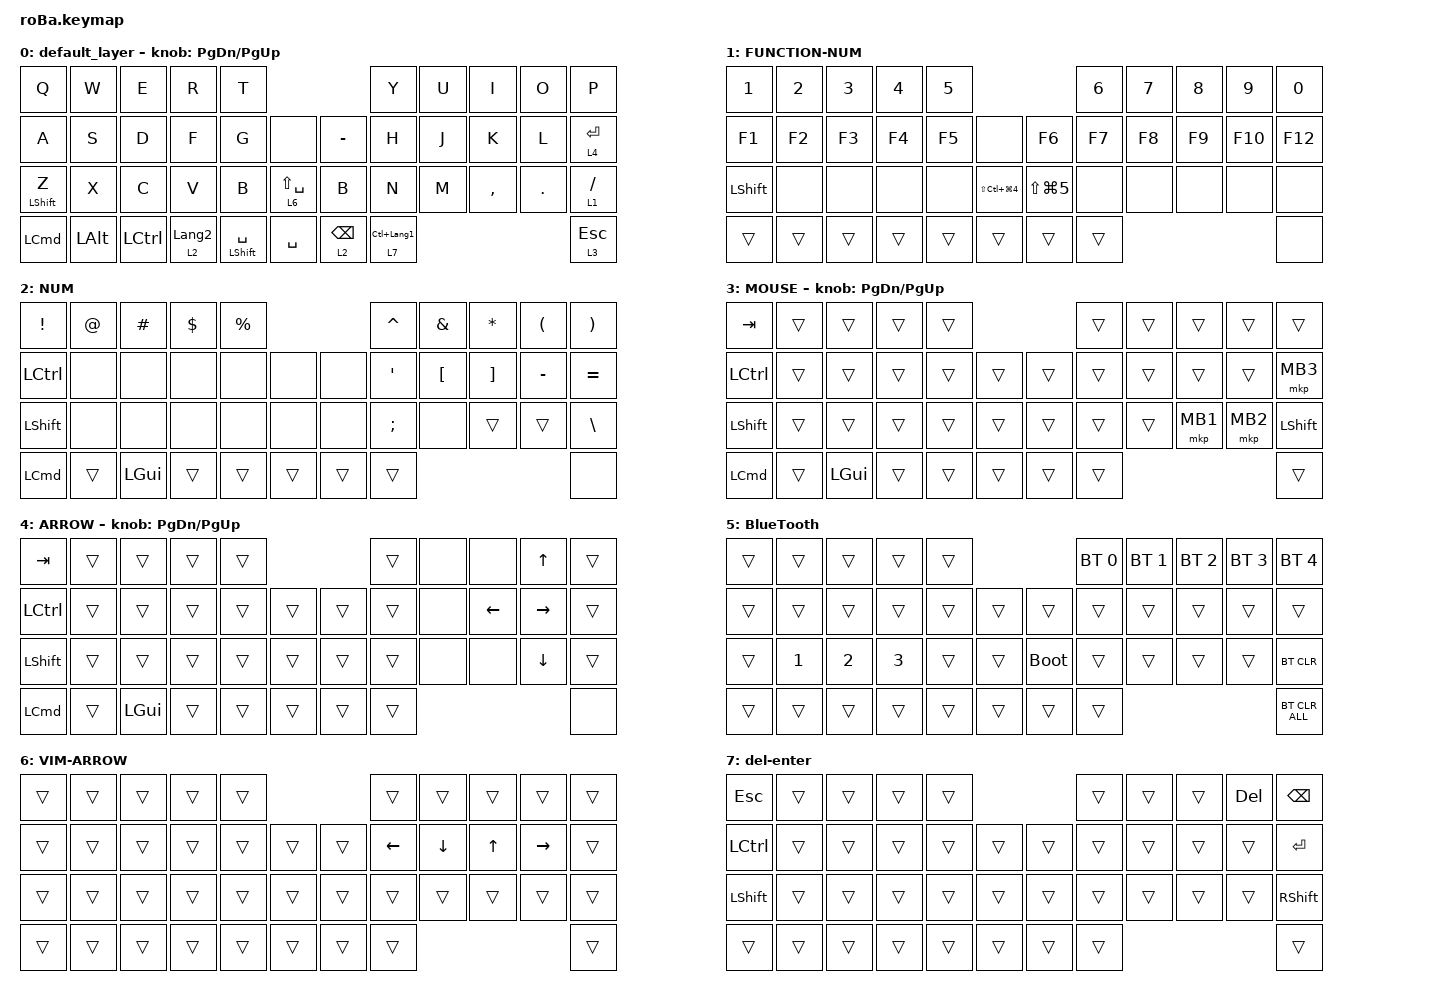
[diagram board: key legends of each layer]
#include <behaviors.dtsi>
#include <dt-bindings/zmk/bt.h>
#include <dt-bindings/zmk/keys.h>
#include <dt-bindings/zmk/pointing.h>

&mt {
    flavor = "balanced";
    quick-tap-ms = <0>;
};

&trackball {
    automouse-layer = <4>;
    scroll-layers = <5>;

    // arrows {
    //     layers = <3>;
    //     bindings =
    //         <&kp RIGHT_ARROW>,
    //         <&kp LEFT_ARROW>,
    //         <&kp UP_ARROW>,
    //         <&kp DOWN_ARROW>;
    //     tick = <10>;
    //     wait-ms = <5>;
    //     tap-ms = <5>;
    // };
};

/ {
    combos {
        compatible = "zmk,combos";

        go_func {
            bindings = <&lt 5 LANG1>;
            key-positions = <41 40>;
        };
    };

    keymap {
        compatible = "zmk,keymap";

        default_layer {
            bindings = <
&kp Q             &kp W         &kp E             &kp R             &kp T                                                  &kp Y                 &kp U  &kp I      &kp O    &kp P
&kp A             &kp S         &kp D             &kp F             &kp G            &none                &kp MINUS        &kp H                 &kp J  &kp K      &kp L    &lt 4 ENTER
&mt LEFT_SHIFT Z  &kp X         &kp C             &kp V             &kp B            &lt 6 LS(SPACE)      &kp B            &kp N                 &kp M  &kp COMMA  &kp DOT  &lt 1 SLASH
&kp LEFT_COMMAND  &kp LEFT_ALT  &kp LEFT_CONTROL  &lt 2 LANGUAGE_2  &mt LSHFT SPACE  &kp SPACE            &lt 2 BACKSPACE  &lt 7 LC(LANGUAGE_1)                             &lt 3 ESCAPE
            >;

            sensor-bindings = <&inc_dec_kp PAGE_DOWN PAGE_UP>;
        };

        FUNCTION-NUM {
            bindings = <
&kp NUMBER_1  &kp NUMBER_2  &kp NUMBER_3  &kp NUMBER_4  &kp NUMBER_5                                                &kp NUMBER_6  &kp NUMBER_7  &kp NUMBER_8  &kp NUMBER_9  &kp NUMBER_0
&kp F1        &kp F2        &kp F3        &kp F4        &kp F5        &none                         &kp F6          &kp F7        &kp F8        &kp F9        &kp F10       &kp F12
&kp LSHFT     &none         &none         &none         &none         &kp LS(LC(LG(NUMBER_4)))      &kp LS(LG(N5))  &none         &none         &none         &none         &none
&trans        &trans        &trans        &trans        &trans        &trans                        &trans          &trans                                                  &none
            >;
        };

        NUM {
            bindings = <
&kp EXCL          &kp AT  &kp HASH      &kp DOLLAR  &kp PERCENT                      &kp CARET         &kp AMPS          &kp ASTRK          &kp LPAR   &kp RPAR
&kp LEFT_CONTROL  &none   &none         &none       &none        &none       &none   &kp SINGLE_QUOTE  &kp LEFT_BRACKET  &kp RIGHT_BRACKET  &kp MINUS  &kp EQUAL
&kp LEFT_SHIFT    &none   &none         &none       &none        &none       &none   &kp SEMICOLON     &none             &trans             &trans     &kp BACKSLASH
&kp LEFT_COMMAND  &trans  &kp LEFT_GUI  &trans      &trans       &trans      &trans  &trans                                                            &none
            >;
        };

        MOUSE {
            bindings = <
&kp TAB           &trans  &trans        &trans  &trans                      &trans  &trans  &trans    &trans    &trans
&kp LEFT_CONTROL  &trans  &trans        &trans  &trans  &trans      &trans  &trans  &trans  &trans    &trans    &mkp MB3
&kp LEFT_SHIFT    &trans  &trans        &trans  &trans  &trans      &trans  &trans  &trans  &mkp MB1  &mkp MB2  &kp LSHFT
&kp LEFT_COMMAND  &trans  &kp LEFT_GUI  &trans  &trans  &trans      &trans  &trans                              &trans
            >;

            sensor-bindings = <&inc_dec_kp PAGE_DOWN PAGE_UP>;
        };

        ARROW {
            bindings = <
&kp TAB           &trans  &trans        &trans  &trans                      &trans  &none  &none           &kp UP_ARROW     &trans
&kp LEFT_CONTROL  &trans  &trans        &trans  &trans  &trans      &trans  &trans  &none  &kp LEFT_ARROW  &kp RIGHT_ARROW  &trans
&kp LEFT_SHIFT    &trans  &trans        &trans  &trans  &trans      &trans  &trans  &none  &none           &kp DOWN_ARROW   &trans
&kp LEFT_COMMAND  &trans  &kp LEFT_GUI  &trans  &trans  &trans      &trans  &trans                                          &none
            >;

            sensor-bindings = <&inc_dec_kp PAGE_DOWN PAGE_UP>;
        };

        BlueTooth {
            bindings = <
&trans  &trans        &trans        &trans        &trans                           &bt BT_SEL 0  &bt BT_SEL 1  &bt BT_SEL 2  &bt BT_SEL 3  &bt BT_SEL 4
&trans  &trans        &trans        &trans        &trans  &trans      &trans       &trans        &trans        &trans        &trans        &trans
&trans  &kp NUMBER_1  &kp NUMBER_2  &kp NUMBER_3  &trans  &trans      &bootloader  &trans        &trans        &trans        &trans        &bt BT_CLR
&trans  &trans        &trans        &trans        &trans  &trans      &trans       &trans                                                  &bt BT_CLR_ALL
            >;
        };

        VIM-ARROW {
            bindings = <
&trans  &trans  &trans  &trans  &trans                      &trans          &trans          &trans        &trans           &trans
&trans  &trans  &trans  &trans  &trans  &trans      &trans  &kp LEFT_ARROW  &kp DOWN_ARROW  &kp UP_ARROW  &kp RIGHT_ARROW  &trans
&trans  &trans  &trans  &trans  &trans  &trans      &trans  &trans          &trans          &trans        &trans           &trans
&trans  &trans  &trans  &trans  &trans  &trans      &trans  &trans                                                         &trans
            >;
        };

        del-enter {
            bindings = <
&kp ESCAPE        &trans  &trans  &trans  &trans                      &trans  &trans  &trans  &kp DEL  &kp BACKSPACE
&kp LEFT_CONTROL  &trans  &trans  &trans  &trans  &trans      &trans  &trans  &trans  &trans  &trans   &kp ENTER
&kp LEFT_SHIFT    &trans  &trans  &trans  &trans  &trans      &trans  &trans  &trans  &trans  &trans   &kp RSHFT
&trans            &trans  &trans  &trans  &trans  &trans      &trans  &trans                           &trans
            >;
        };
    };
};
